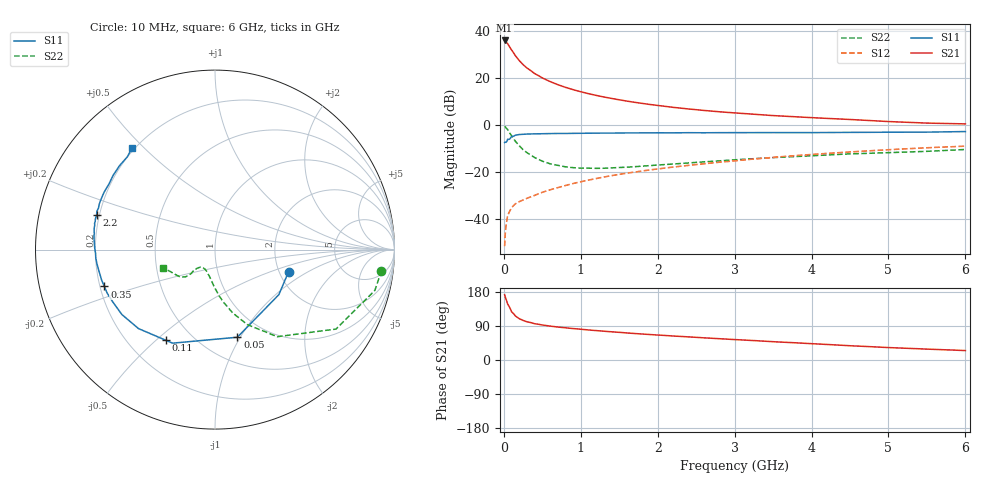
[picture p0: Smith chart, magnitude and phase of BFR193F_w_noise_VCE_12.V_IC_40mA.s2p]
! Infineon Technologies  Discrete & RF Semiconductors
! BFR193F
! VCE =  12. V,  IC =  40 mA
! Common Emitter S-Parameters:  Jan 2017
# GHz  S  MA  R  50
!  f  S11  S21  S12  S22
! GHz  MAG  ANG  MAG  ANG  MAG  ANG  MAG  ANG
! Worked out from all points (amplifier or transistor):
!   77 points, 10 MHz to 6 GHz, reference 50 ohm
!   highest |S21| = 36.0 dB at 10 MHz (marker M1)
!   |S21| within 3 dB of that: start of sweep to 80.03 MHz
!   unconditionally stable (mu >= 1): 1.021 GHz to 2.676 GHz
!   at 130 MHz: K = 0.40, MSG = 32.3 dB, |S12| = -34.0 dB
!   at 2.2 GHz: K = 1.02, MAG = 11.8 dB, |S12| = -17.8 dB
!   at 6 GHz: K = 0.84, MSG = 4.7 dB, |S12| = -8.9 dB
!   lowest NFmin = 1.34 dB at 450 MHz
!   S11 on the Smith chart (normalised r, x): 10 MHz: 2.25, -0.68; 50 MHz: 0.74, -0.97; 110 MHz: 0.36, -0.54; 350 MHz: 0.22, -0.15; 2.2 GHz: 0.19, +0.14; 6 GHz: 0.19, +0.46
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0.01  0.4282 -16.7  62.75 172.2  0.0027 76.0  0.9349 -7.2
0.02  0.4354 -35.2  61.07 165.2  0.0054 74.8  0.9193 -14.3
0.05  0.5039 -75.7  53.47 147.5  0.012 63.0  0.8067 -33.3
0.1  0.5724 -114.4  39.57 127.3  0.0176 51.1  0.5968 -54.4
0.11  0.5748 -118.5  37.53 125.5  0.0184 50.5  0.5666 -56.4
0.15  0.6127 -134.1  29.81 116.2  0.0214 48.6  0.4548 -66.7
0.2  0.6324 -145.1  23.56 109.1  0.0237 49.5  0.3663 -74.4
0.25  0.6399 -152.9  19.29 104.4  0.0258 50.3  0.3015 -80.3
0.3  0.6478 -158.0  16.34 100.9  0.028 51.8  0.2607 -84.7
0.35  0.6498 -161.6  14.39 98.7  0.0301 53.6  0.2324 -87.7
0.4  0.6542 -165.1  12.46 95.8  0.0323 55.2  0.205 -91.5
0.5  0.6577 -169.7  10.06 92.4  0.0375 60.0  0.172 -97.0
0.6  0.6623 -173.1  8.434 89.5  0.0424 61.8  0.1517 -101.9
0.8  0.6657 -178.2  6.355 85.0  0.0523 65.7  0.1306 -110.4
1.1  0.6741 176.4  4.659 79.3  0.0682 68.9  0.1222 -119.7
1.5  0.6813 171.2  3.452 73.0  0.0902 71.2  0.1263 -128.3
2.1  0.6876 164.7  2.504 64.7  0.1232 72.2  0.146 -134.0
2.2  0.6871 163.8  2.389 63.3  0.1288 72.2  0.1496 -134.2
3.1  0.6939 156.1  1.773 52.9  0.1809 71.4  0.188 -135.0
4.1  0.6959 147.4  1.418 42.1  0.245 68.3  0.228 -138.2
5.1  0.7084 137.5  1.174 32.0  0.3069 63.3  0.264 -149.3
6  0.7317 129.2  1.064 24.9  0.3583 58.5  0.3047 -160.7
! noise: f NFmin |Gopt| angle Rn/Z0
0.45  1.34  0.43  179  0.06
0.9  1.42  0.44  180  0.07
1.9  1.98  0.59  -165  0.08
2.4  2.27  0.61  -157  0.13
